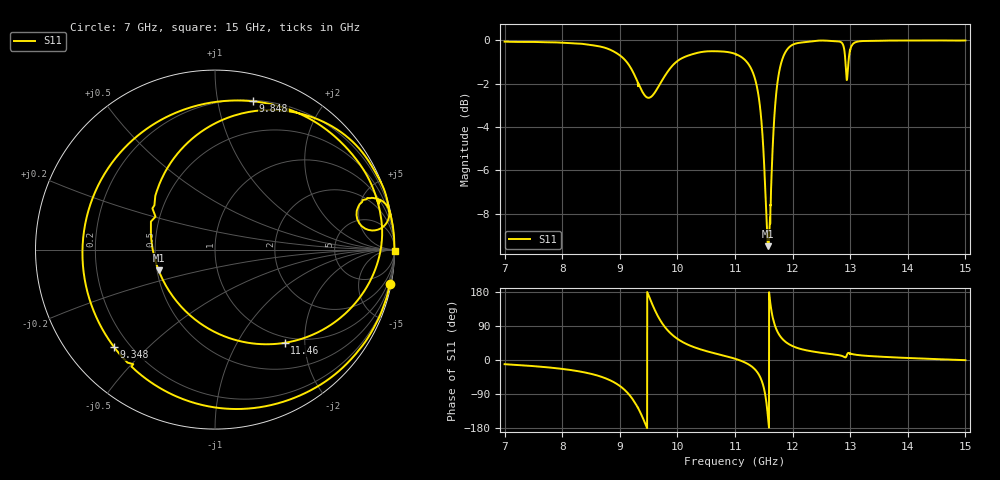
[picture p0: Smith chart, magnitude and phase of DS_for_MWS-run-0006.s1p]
! TOUCHSTONE file generated by CST DESIGN STUDIO
! Date and time: Mon Feb 10 16:54:04 2025
! Project name: C:\Work\MatlabApps\UnitCellType2OptimizationMatlab\CST\unitcell.cst
! Tree item: Tasks\Sweep1\SPara1\S-Parameters
! Header version: 2024
! Port assignment regex: !\s*Touchstone port\s*([0-9]+)\s*=\s*(CST MWS port|CST DES external port|CST DES block port)\s*(.+)\s* \(\"(.*)\"\)(\s*mode\s*([0-9]+))?.*
! Touchstone port assignment:
! Touchstone port 1 = CST DES external port 1 ("")
# GHz S MA R 50
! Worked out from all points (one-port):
!   4001 points, 7 GHz to 15 GHz, reference 50 ohm
!   lowest |S11| = -9.5 dB at 11.58 GHz (marker M1), VSWR 2.01, Z = 25.5 - j6.68 ohm
!   |S11| at or under -10 dB: nowhere
!   S11 on the Smith chart (normalised r, x): 7 GHz: 0, -10; 9.348 GHz: 0.14, -0.40; 9.848 GHz: 0.21, +1.27; 11.46 GHz: 0.90, -1.61; 15 GHz: open
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7  0.994 -11.0
8  0.9883 -23.5
8.63  0.97 -41.8
9  0.9241 -68.4
9.2  0.8598 -98.7
9.348  0.782 -136.0
9.444  0.7437 -168.7
9.53  0.739 159.2
9.676  0.7843 111.6
9.848  0.8532 75.6
10  0.8964 55.8
10.394  0.9393 28.4
11  0.9315 3.4
11.302  0.8485 -18.6
11.39  0.7705 -32.9
11.46  0.6482 -53.3
11.522  0.4636 -89.1
11.578  0.3346 -159.7
11.634  0.4854 128.8
11.676  0.644 99.5
11.72  0.7646 80.2
11.84  0.9189 52.9
12  0.9776 36.7
12.452  0.9994 19.9
12.898  0.9505 7.9
13  0.9538 17.2
14  0.9995 5.3
15  1 -0.4
